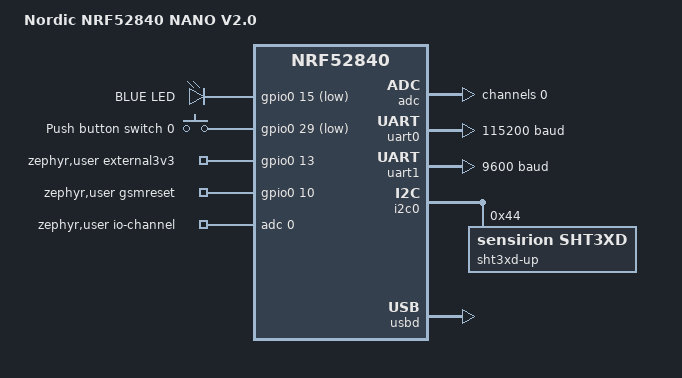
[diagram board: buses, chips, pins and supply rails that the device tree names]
/*
 * Copyright (c) 2017 Linaro Limited
 *
 * SPDX-License-Identifier: Apache-2.0
 */

/dts-v1/;
#include <nordic/nrf52840_qiaa.dtsi>
#include "nrf52840_nano_v2_0-pinctrl.dtsi"

/ {
	model = "Nordic NRF52840 NANO V2.0";
	compatible = "nordic,nrf52840-nano-v2-0";

	chosen {
		zephyr,console = &uart0;
		zephyr,shell-uart = &uart0;
		zephyr,uart-mcumgr = &uart0;
		zephyr,bt-mon-uart = &uart0;
		zephyr,bt-c2h-uart = &uart0;
		zephyr,sram = &sram0;
		zephyr,flash = &flash0;
		zephyr,code-partition = &slot0_partition;
		zephyr,ieee802154 = &ieee802154;
	};

	leds {
		compatible = "gpio-leds";
		led0: led_0 {
			gpios = <&gpio0 15 GPIO_ACTIVE_LOW>;
			label = "BLUE LED";
		};
	};

	buttons {
		compatible = "gpio-keys";
		button0: button_0 {
			gpios = <&gpio0 29 (GPIO_ACTIVE_LOW | GPIO_PULL_UP)>;
			label = "Push button switch 0";
		};
	};

	/* These aliases are provided for compatibility with samples */
	aliases {
		led0 = &led0;
		sw0 = &button0;
		bootloader-led0 = &led0;
		mcuboot-button0 = &button0;
		mcuboot-led0 = &led0;
		watchdog0 = &wdt0;
		uart-gsm = &uart1;
	};

	zephyr,user {
		external3v3-gpios = <&gpio0 13 GPIO_PULL_UP>;
		gsmreset-gpios = <&gpio0 10 GPIO_PULL_UP>;
		io-channels = <&adc 0>;
	};
};

&adc {
	#address-cells = <1>;
	#size-cells = <0>;
	status = "okay";
	channel@0 {
		reg = <0>;
		zephyr,gain = "ADC_GAIN_1_6";
		zephyr,reference = "ADC_REF_INTERNAL";
		zephyr,acquisition-time = <ADC_ACQ_TIME_DEFAULT>;
		zephyr,input-positive = <NRF_SAADC_AIN0>; /* P0.02 for nRF52840 */
		zephyr,resolution = <12>;
	};
};

&gpiote {
	status = "okay";
};

&gpio0 {
	status = "okay";
};

&gpio1 {
	status = "okay";
};

&uart0 {
	compatible = "nordic,nrf-uarte";
	status = "okay";
	current-speed = <115200>;
	pinctrl-0 = <&uart0_default>;
	pinctrl-1 = <&uart0_sleep>;
	pinctrl-names = "default", "sleep";
};

&uart1 {
	compatible = "nordic,nrf-uarte";
	status = "okay";
	current-speed = <9600>;
	pinctrl-0 = <&uart1_default>;
	pinctrl-1 = <&uart1_sleep>;
	pinctrl-names = "default", "sleep";
};

&i2c0 {
	compatible = "nordic,nrf-twi";
	status = "okay";
	pinctrl-0 = <&i2c0_default>;
	pinctrl-1 = <&i2c0_sleep>;
	pinctrl-names = "default", "sleep";
	sht3xd-up@44 {
		compatible = "sensirion,sht3xd";
		reg = <0x44>;
	};
};

&flash0 {

	partitions {
		compatible = "fixed-partitions";
		#address-cells = <1>;
		#size-cells = <1>;

		boot_partition: partition@0 {
			label = "mcuboot";
			reg = <0x00000000 0x0000C000>;
		};
		slot0_partition: partition@c000 {
			label = "image-0";
			reg = <0x0000C000 0x00067000>;
		};
		slot1_partition: partition@73000 {
			label = "image-1";
			reg = <0x00073000 0x00067000>;
		};
		scratch_partition: partition@da000 {
			label = "image-scratch";
			reg = <0x000da000 0x0001e000>;
		};

		/*
		 * The flash starting at 0x000f8000 and ending at
		 * 0x000fffff is reserved for use by the application.
		 */

		/*
		 * Storage partition will be used by FCB/LittleFS/NVS
		 * if enabled.
		 */
		storage_partition: partition@f8000 {
			label = "storage";
			reg = <0x000f8000 0x00008000>;
		};
	};
};

zephyr_udc0: &usbd {
	compatible = "nordic,nrf-usbd";
	status = "okay";
};

// &i2c0_default {
	//     group2 {
		//         psels = <NRF_PSEL(TWIM_SCL, 0, 17)>, <NRF_PSEL(TWIM_SDA, 0, 20)>;
		//         bias-pull-up;
	//     };
// };

// &uart1_default {
	//     group2 {
		//         psels = <NRF_PSEL(UART_TX, 0, 22)>;
	//     };

	//     group1 {
		//         psels = <NRF_PSEL(UART_RX, 0, 24)>;
	//     };
// };
// /delete-node/ &{/pin-controller/i2c0_default/group1/};

// &uart1_sleep {
	//     group1 {
		//         psels = <NRF_PSEL(UART_RX, 0, 24)>, <NRF_PSEL(UART_TX, 0, 22)>;
	//     };
// };
